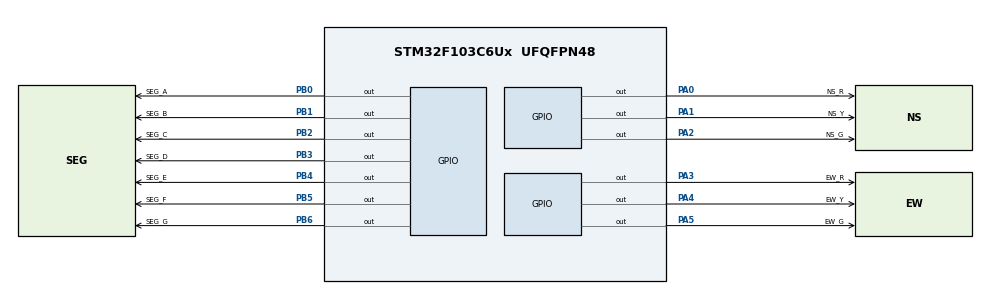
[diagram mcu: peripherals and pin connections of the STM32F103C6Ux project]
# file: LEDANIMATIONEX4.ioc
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Mcu.Family=STM32F1
Mcu.Name=STM32F103C6Ux
Mcu.Package=UFQFPN48
NVIC.PriorityGroup=NVIC_PRIORITYGROUP_4
PA0-WKUP.GPIO_Label=NS_R
PA0-WKUP.Signal=GPIO_Output
PA1.GPIO_Label=NS_Y
PA1.Signal=GPIO_Output
PA2.GPIO_Label=NS_G
PA2.Signal=GPIO_Output
PA3.GPIO_Label=EW_R
PA3.Signal=GPIO_Output
PA4.GPIO_Label=EW_Y
PA4.Signal=GPIO_Output
PA5.GPIO_Label=EW_G
PA5.Signal=GPIO_Output
PB0.GPIO_Label=SEG_A
PB0.Signal=GPIO_Output
PB1.GPIO_Label=SEG_B
PB1.Signal=GPIO_Output
PB2.GPIO_Label=SEG_C
PB2.Signal=GPIO_Output
PB3.GPIO_Label=SEG_D
PB3.Signal=GPIO_Output
PB4.GPIO_Label=SEG_E
PB4.Signal=GPIO_Output
PB5.GPIO_Label=SEG_F
PB5.Signal=GPIO_Output
PB6.GPIO_Label=SEG_G
PB6.Signal=GPIO_Output
ProjectManager.HeapSize=0x200
ProjectManager.StackSize=0x400
ProjectManager.TargetToolchain=STM32CubeIDE
RCC.APB1Freq_Value=8000000
RCC.APB2Freq_Value=8000000
VP_SYS_VS_ND.Mode=No_Debug
board=custom

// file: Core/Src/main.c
/* USER CODE BEGIN Header */
/**
  ******************************************************************************
  * @file           : main.c
  * @brief          : Main program body
  ******************************************************************************
  * @attention
  *
  * <h2><center>&copy; Copyright (c) 2025 STMicroelectronics.
  * All rights reserved.</center></h2>
  *
  * This software component is licensed by ST under BSD 3-Clause license,
  * the "License"; You may not use this file except in compliance with the
  * License. You may obtain a copy of the License at:
  *                        opensource.org/licenses/BSD-3-Clause
  *
  ******************************************************************************
  */
/* USER CODE END Header */
#include "main.h"

/* USER CODE BEGIN PV */

#define SEG_ON   GPIO_PIN_RESET
#define SEG_OFF  GPIO_PIN_SET

static const uint8_t segmap[10] = {
  0b1111110, // 0: a b c d e f on
  0b0110000, // 1: b c
  0b1101101, // 2: a b d e g
  0b1111001, // 3: a b c d g
  0b0110011, // 4: b c f g
  0b1011011, // 5: a c d f g
  0b1011111, // 6: a c d e f g
  0b1110000, // 7: a b c
  0b1111111, // 8: a b c d e f g
  0b1111011  // 9: a b c d f g
};

static inline void write_segments(uint8_t mask) {
  HAL_GPIO_WritePin(SEG_A_GPIO_Port, SEG_A_Pin, (mask & (1<<0)) ? SEG_ON : SEG_OFF);
  HAL_GPIO_WritePin(SEG_B_GPIO_Port, SEG_B_Pin, (mask & (1<<1)) ? SEG_ON : SEG_OFF);
  HAL_GPIO_WritePin(SEG_C_GPIO_Port, SEG_C_Pin, (mask & (1<<2)) ? SEG_ON : SEG_OFF);
  HAL_GPIO_WritePin(SEG_D_GPIO_Port, SEG_D_Pin, (mask & (1<<3)) ? SEG_ON : SEG_OFF);
  HAL_GPIO_WritePin(SEG_E_GPIO_Port, SEG_E_Pin, (mask & (1<<4)) ? SEG_ON : SEG_OFF);
  HAL_GPIO_WritePin(SEG_F_GPIO_Port, SEG_F_Pin, (mask & (1<<5)) ? SEG_ON : SEG_OFF);
  HAL_GPIO_WritePin(SEG_G_GPIO_Port, SEG_G_Pin, (mask & (1<<6)) ? SEG_ON : SEG_OFF);
}

void display7SEG(int num) {
  if (num < 0 || num > 9) num = 0;
  write_segments(segmap[num]);
}

/* USER CODE END PV */

void SystemClock_Config(void);
static void MX_GPIO_Init(void);

int main(void)
{

  /* MCU Configuration--------------------------------------------------------*/

  /* Reset of all peripherals, Initializes the Flash interface and the Systick. */
  HAL_Init();

  /* Configure the system clock */
  SystemClock_Config();

  /* Initialize all configured peripherals */
  MX_GPIO_Init();
  /* USER CODE BEGIN 2 */

  write_segments(0);

  HAL_GPIO_WritePin(NS_R_GPIO_Port, NS_R_Pin, GPIO_PIN_RESET);
  HAL_GPIO_WritePin(NS_Y_GPIO_Port, NS_Y_Pin, GPIO_PIN_RESET);
  HAL_GPIO_WritePin(NS_G_GPIO_Port, NS_G_Pin, GPIO_PIN_RESET);
  HAL_GPIO_WritePin(EW_R_GPIO_Port, EW_R_Pin, GPIO_PIN_RESET);
  HAL_GPIO_WritePin(EW_Y_GPIO_Port, EW_Y_Pin, GPIO_PIN_RESET);
  HAL_GPIO_WritePin(EW_G_GPIO_Port, EW_G_Pin, GPIO_PIN_RESET);

  /* USER CODE END 2 */

  /* Infinite loop */
  /* USER CODE BEGIN WHILE */
  int counter = 0;
  while (1)
  {
    // Simple test like manual: count 0→9 every second
    if (counter >= 10) counter = 0;
    display7SEG(counter++);
    HAL_Delay(1000);
  }
  /* USER CODE END 3 */
}

void SystemClock_Config(void)
{
  RCC_OscInitTypeDef RCC_OscInitStruct = {0};
  RCC_ClkInitTypeDef RCC_ClkInitStruct = {0};

  /** Initializes the RCC Oscillators according to the specified parameters
  * in the RCC_OscInitTypeDef structure.
  */
  RCC_OscInitStruct.OscillatorType = RCC_OSCILLATORTYPE_HSI;
  RCC_OscInitStruct.HSIState = RCC_HSI_ON;
  RCC_OscInitStruct.HSICalibrationValue = RCC_HSICALIBRATION_DEFAULT;
  RCC_OscInitStruct.PLL.PLLState = RCC_PLL_NONE;
  if (HAL_RCC_OscConfig(&RCC_OscInitStruct) != HAL_OK)
  {
    Error_Handler();
  }
  /** Initializes the CPU, AHB and APB buses clocks
  */
  RCC_ClkInitStruct.ClockType = RCC_CLOCKTYPE_HCLK|RCC_CLOCKTYPE_SYSCLK
                              |RCC_CLOCKTYPE_PCLK1|RCC_CLOCKTYPE_PCLK2;
  RCC_ClkInitStruct.SYSCLKSource = RCC_SYSCLKSOURCE_HSI;
  RCC_ClkInitStruct.AHBCLKDivider = RCC_SYSCLK_DIV1;
  RCC_ClkInitStruct.APB1CLKDivider = RCC_HCLK_DIV1;
  RCC_ClkInitStruct.APB2CLKDivider = RCC_HCLK_DIV1;

  if (HAL_RCC_ClockConfig(&RCC_ClkInitStruct, FLASH_LATENCY_0) != HAL_OK)
  {
    Error_Handler();
  }
}

static void MX_GPIO_Init(void)
{
  GPIO_InitTypeDef GPIO_InitStruct = {0};

  /* GPIO Ports Clock Enable */
  __HAL_RCC_GPIOA_CLK_ENABLE();
  __HAL_RCC_GPIOB_CLK_ENABLE();

  /*Configure GPIO pin Output Level */
  HAL_GPIO_WritePin(GPIOA, NS_R_Pin|NS_Y_Pin|NS_G_Pin|EW_R_Pin
                          |EW_Y_Pin|EW_G_Pin, GPIO_PIN_RESET);

  /*Configure GPIO pin Output Level */
  HAL_GPIO_WritePin(GPIOB, SEG_A_Pin|SEG_B_Pin|SEG_C_Pin|SEG_D_Pin
                          |SEG_E_Pin|SEG_F_Pin|SEG_G_Pin, GPIO_PIN_RESET);

  /*Configure GPIO pins : NS_R_Pin NS_Y_Pin NS_G_Pin EW_R_Pin
                           EW_Y_Pin EW_G_Pin */
  GPIO_InitStruct.Pin = NS_R_Pin|NS_Y_Pin|NS_G_Pin|EW_R_Pin
                          |EW_Y_Pin|EW_G_Pin;
  GPIO_InitStruct.Mode = GPIO_MODE_OUTPUT_PP;
  GPIO_InitStruct.Pull = GPIO_NOPULL;
  GPIO_InitStruct.Speed = GPIO_SPEED_FREQ_LOW;
  HAL_GPIO_Init(GPIOA, &GPIO_InitStruct);

  /*Configure GPIO pins : SEG_A_Pin SEG_B_Pin SEG_C_Pin SEG_D_Pin
                           SEG_E_Pin SEG_F_Pin SEG_G_Pin */
  GPIO_InitStruct.Pin = SEG_A_Pin|SEG_B_Pin|SEG_C_Pin|SEG_D_Pin
                          |SEG_E_Pin|SEG_F_Pin|SEG_G_Pin;
  GPIO_InitStruct.Mode = GPIO_MODE_OUTPUT_PP;
  GPIO_InitStruct.Pull = GPIO_NOPULL;
  GPIO_InitStruct.Speed = GPIO_SPEED_FREQ_LOW;
  HAL_GPIO_Init(GPIOB, &GPIO_InitStruct);

}

void Error_Handler(void)
{
  __disable_irq();
  while (1)
  {
  }
}

/************************ (C) COPYRIGHT STMicroelectronics *****END OF FILE****/
